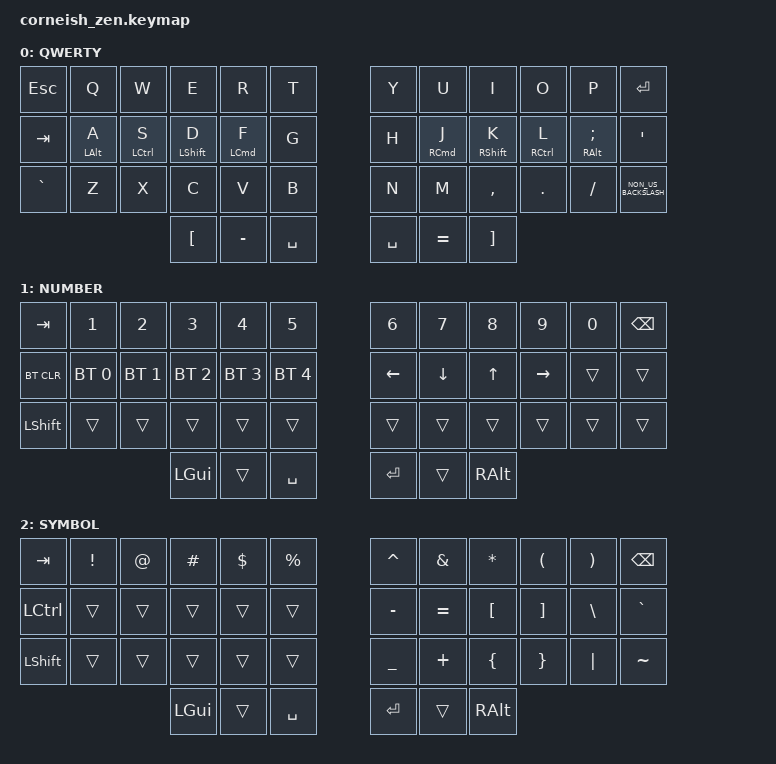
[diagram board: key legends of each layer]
/*
*
* Copyright (c) 2021 Darryl deHaan
* SPDX-License-Identifier: MIT
*
*/

#include <behaviors.dtsi>
#include <dt-bindings/zmk/bt.h>
#include <dt-bindings/zmk/keys.h>

/ {
    chosen {
        zmk,physical-layout = &foostan_corne_6col_layout;

        // zmk,physical-layout = &foostan_corne_5col_layout;
    };
};

/ {
    behaviors {
        hml: hml {
            compatible = "zmk,behavior-hold-tap";
            label = "HML";
            bindings = <&kp>, <&kp>;

            #binding-cells = <2>;
            tapping-term-ms = <280>;
            flavor = "balanced";
            require-prior-idle-ms = <150>;
            quick-tap-ms = <175>;
            hold-trigger-key-positions = <6 7 8 9 10 11 18 19 20 21 22 23 30 31 32 33 34 35 39 40 41 6 7 8 9 10 11 18 19 20 21 22 23 30 31 32 33 34 35 39 40 41>;
            hold-trigger-on-release;
        };

        hmr: hmr {
            compatible = "zmk,behavior-hold-tap";
            label = "HMR";
            bindings = <&kp>, <&kp>;

            #binding-cells = <2>;
            flavor = "balanced";
            tapping-term-ms = <280>;
            quick-tap-ms = <175>;
            require-prior-idle-ms = <150>;
            hold-trigger-key-positions = <0 1 2 3 4 5 12 13 14 15 16 17 24 25 26 27 28 29 36 37 38>;
            hold-trigger-on-release;
        };
    };

    keymap {
        compatible = "zmk,keymap";

        default_layer {
            display-name = "QWERTY";

            // --------------------------------------------------------------------------------
            // |  TAB |  Q  |  W  |  E  |  R  |  T  |   |  Y  |  U   |  I  |  O  |  P  | BSPC |
            // | CTRL |  A  |  S  |  D  |  F  |  G  |   |  H  |  J   |  K  |  L  |  ;  |  '   |
            // | SHFT |  Z  |  X  |  C  |  V  |  B  |   |  N  |  M   |  ,  |  .  |  /  | ESC  |
            //                    | GUI | LWR | SPC |   | ENT | RSE  | ALT |

            bindings = <
&kp ESCAPE  &kp Q            &kp W         &kp E              &kp R                &kp T        &kp Y      &kp U                 &kp I               &kp O                 &kp P                     &kp ENTER
&kp TAB     &hml LEFT_ALT A  &hml LCTRL S  &hml LEFT_SHIFT D  &hml LEFT_COMMAND F  &kp G        &kp H      &hmr RIGHT_COMMAND J  &hmr RIGHT_SHIFT K  &hmr RIGHT_CONTROL L  &hmr RIGHT_ALT SEMICOLON  &kp SQT
&kp GRAVE   &kp Z            &kp X         &kp C              &kp V                &kp B        &kp N      &kp M                 &kp COMMA           &kp DOT               &kp FSLH                  &kp NON_US_BACKSLASH
                                           &kp LEFT_BRACKET   &kp MINUS            &kp SPACE    &kp SPACE  &kp EQUAL             &kp RIGHT_BRACKET
            >;
        };

        lower_layer {
            display-name = "NUMBER";

            // -----------------------------------------------------------------------------------------
            // |  TAB |  1  |  2  |  3  |  4  |  5  |   |  6  |  7  |  8  |  9  |  0  | BSPC |
            // | BTCLR| BT1 | BT2 | BT3 | BT4 | BT5 |   | LFT | DWN |  UP | RGT |     |      |
            // | SHFT |     |     |     |     |     |   |     |     |     |     |     |      |
            //                    | GUI |     | SPC |   | ENT |     | ALT |

            bindings = <
&kp TAB     &kp N1        &kp N2        &kp N3        &kp N4        &kp N5          &kp N6    &kp N7    &kp N8    &kp N9     &kp N0  &kp BSPC
&bt BT_CLR  &bt BT_SEL 0  &bt BT_SEL 1  &bt BT_SEL 2  &bt BT_SEL 3  &bt BT_SEL 4    &kp LEFT  &kp DOWN  &kp UP    &kp RIGHT  &trans  &trans
&kp LSHFT   &trans        &trans        &trans        &trans        &trans          &trans    &trans    &trans    &trans     &trans  &trans
                                        &kp LGUI      &trans        &kp SPACE       &kp RET   &trans    &kp RALT
            >;
        };

        raise_layer {
            display-name = "SYMBOL";

            // -----------------------------------------------------------------------------------------
            // |  TAB |  !  |  @  |  #  |  $  |  %  |   |  ^  |  &  |  *  |  (  |  )  | BSPC |
            // | CTRL |     |     |     |     |     |   |  -  |  =  |  [  |  ]  |  \  |  `   |
            // | SHFT |     |     |     |     |     |   |  _  |  +  |  {  |  }  | "|" |  ~   |
            //                    | GUI |     | SPC |   | ENT |     | ALT |

            bindings = <
&kp TAB    &kp EXCL  &kp AT  &kp HASH  &kp DLLR  &kp PRCNT    &kp CARET  &kp AMPS   &kp ASTRK  &kp LPAR  &kp RPAR  &kp BSPC
&kp LCTRL  &trans    &trans  &trans    &trans    &trans       &kp MINUS  &kp EQUAL  &kp LBKT   &kp RBKT  &kp BSLH  &kp GRAVE
&kp LSHFT  &trans    &trans  &trans    &trans    &trans       &kp UNDER  &kp PLUS   &kp LBRC   &kp RBRC  &kp PIPE  &kp TILDE
                             &kp LGUI  &trans    &kp SPACE    &kp RET    &trans     &kp RALT
            >;
        };
    };
};
